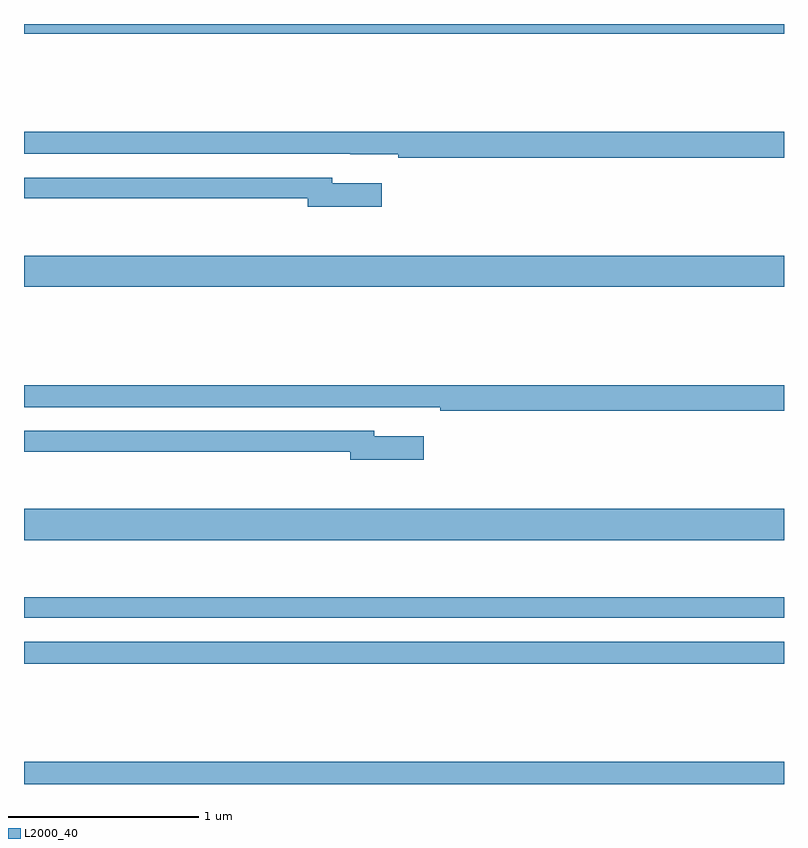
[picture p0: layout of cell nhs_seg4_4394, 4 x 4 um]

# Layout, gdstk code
import gdstk
lib = gdstk.Library(unit=1e-6, precision=1e-09)
def R(c, l, rs):  # rectangles x0, y0, x1, y1
    for r in rs: c.add(gdstk.rectangle(r[:2], r[2:], *l))
def P(c, l, *ps):  # polygons
    for p in ps: c.add(gdstk.Polygon(p, *l))
L2000_40 = (2000, 40)

nhs_seg4_4394 = lib.new_cell('nhs_seg4_4394')
R(nhs_seg4_4394, L2000_40, [(347,764.9,351,765.016), (347,765.532,351,765.648), (347,765.774,351,765.883), (347,766.184,351,766.348), (347,767.516,351,767.68), (347,768.848,351,768.9)])
P(nhs_seg4_4394, L2000_40, [(351,768.332),(347,768.332),(347,768.216),(348.718,768.216),(348.718,768.215),(348.97,768.215),(348.97,768.196),(351,768.196)],
  [(348.883,768.061),(348.622,768.061),(348.622,768.09),(347,768.09),(347,767.982),(348.494,767.982),(348.494,767.939),(348.883,767.939)],
  [(351,767),(347,767),(347,766.884),(348.94,766.884),(348.94,766.883),(349.192,766.883),(349.192,766.864),(351,766.864)],
  [(349.105,766.729),(348.844,766.729),(348.844,766.758),(347,766.758),(347,766.65),(348.716,766.65),(348.716,766.607),(349.105,766.607)])

lib.write_gds('nhs_seg4_4394.gds')
